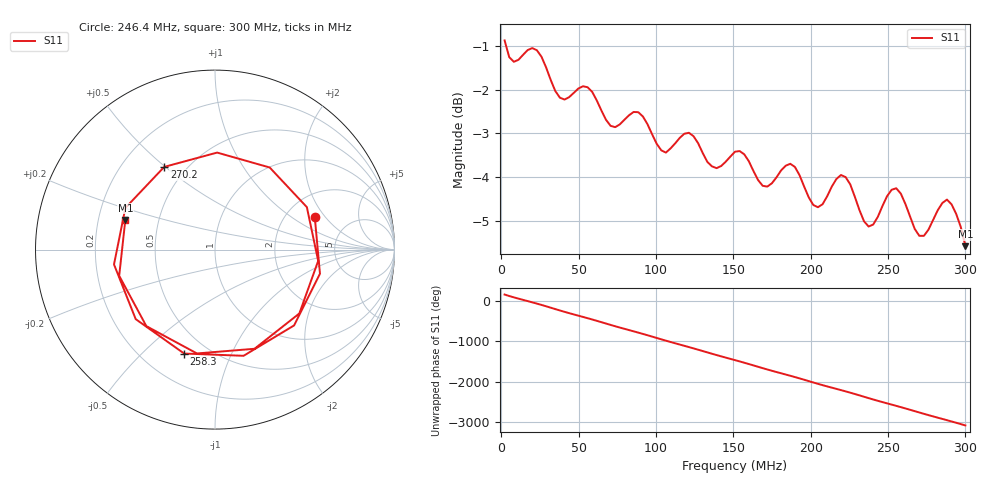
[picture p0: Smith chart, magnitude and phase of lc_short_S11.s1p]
# Hz S RI R 50
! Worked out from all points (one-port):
!   101 points, 2.05 MHz to 300 MHz, reference 50 ohm
!   lowest |S11| = -5.6 dB at 300 MHz (marker M1), VSWR 3.22, Z = 15.9 + j7.24 ohm
!   |S11| at or under -10 dB: nowhere
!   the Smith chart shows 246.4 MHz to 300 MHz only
!   S11 on the Smith chart (normalised r, x): 246.4 MHz: 2.85, +1.58; 258.3 MHz: 0.37, -0.68; 270.2 MHz: 0.38, +0.50; 300 MHz: 0.32, +0.14
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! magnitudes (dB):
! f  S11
! 2.05 MHz  -0.9
! 8.009 MHz  -1.4
! 22.91 MHz  -1.1
! 40.78 MHz  -2.2
! 55.68 MHz  -1.9
! 70.58 MHz  -2.8
! 76.54 MHz  -2.8
! 88.46 MHz  -2.5
! 106.3 MHz  -3.4
! 115.3 MHz  -3.1
! 124.2 MHz  -3.1
! 139.1 MHz  -3.8
! 151 MHz  -3.4
! 157 MHz  -3.5
! 168.9 MHz  -4.2
! 189.8 MHz  -3.8
! 204.7 MHz  -4.7
! 219.6 MHz  -4.0
! 225.5 MHz  -4.2
! 237.4 MHz  -5.1
! 246.4 MHz  -4.7
! 252.3 MHz  -4.3
! 258.3 MHz  -4.4
! 264.2 MHz  -4.9
! 270.2 MHz  -5.3
! 288.1 MHz  -4.5
! 294 MHz  -4.8
! 300 MHz  -5.6
